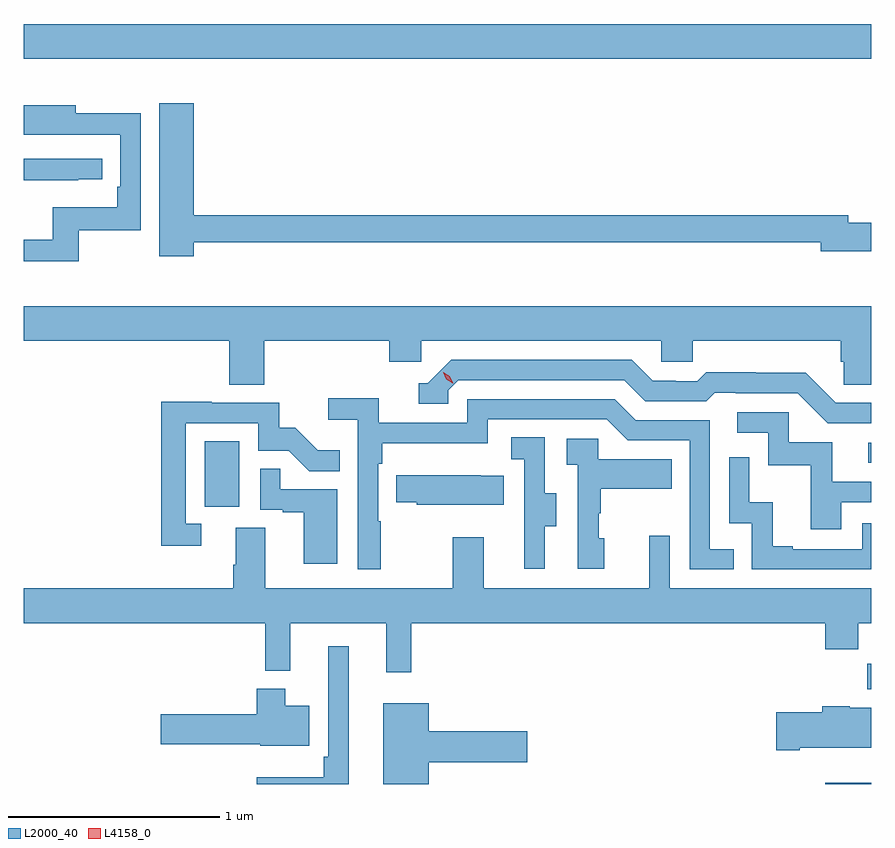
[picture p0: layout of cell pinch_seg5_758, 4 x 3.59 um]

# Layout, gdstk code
import gdstk
lib = gdstk.Library(unit=1e-6, precision=1e-09)
def R(c, l, rs):  # rectangles x0, y0, x1, y1
    for r in rs: c.add(gdstk.rectangle(r[:2], r[2:], *l))
def P(c, l, *ps):  # polygons
    for p in ps: c.add(gdstk.Polygon(p, *l))
L2000_40 = (2000, 40)
L4158_0 = (4158, 0)

pinch_seg5_758 = lib.new_cell('pinch_seg5_758')
R(pinch_seg5_758, L2000_40, [(833.585,906.616,833.801,906.622), (833.782,907.064,833.801,907.183), (830.654,907.926,830.818,908.233), (833.787,908.133,833.801,908.226), (829.801,910.04,833.801,910.204)])
P(pinch_seg5_758, L2000_40, [(830.602,909.174),(833.564,909.174),(833.564,909.131),(833.801,909.131),(833.801,909.266),(833.692,909.266),(833.692,909.302),(830.602,909.302),(830.602,909.829),(830.441,909.829),(830.441,909.108),(830.602,909.108)],
  [(830.059,909.231),(830.352,909.231),(830.352,909.782),(830.047,909.782),(830.047,909.82),(829.801,909.82),(829.801,909.68),(829.943,909.68),(829.943,909.681),(830.256,909.681),(830.256,909.436),(830.243,909.436),(830.243,909.34),(829.938,909.34),(829.938,909.185),(829.801,909.185),(829.801,909.084),(830.059,909.084)],
  [(830.057,909.471),(830.17,909.471),(830.17,909.567),(829.801,909.567),(829.801,909.466),(830.057,909.466)],
  [(830.936,908.708),(831.527,908.708),(831.527,908.61),(831.678,908.61),(831.678,908.708),(832.809,908.708),(832.809,908.61),(832.959,908.61),(832.959,908.708),(833.657,908.708),(833.657,908.61),(833.671,908.61),(833.671,908.5),(833.801,908.5),(833.801,908.872),(829.801,908.872),(829.801,908.708),(830.771,908.708),(830.771,908.5),(830.936,908.5)],
  [(833.801,908.415),(833.634,908.415),(833.492,908.557),(833.256,908.557),(833.256,908.56),(833.023,908.56),(832.981,908.517),(832.878,908.517),(832.878,908.52),(832.771,908.52),(832.672,908.619),(831.819,908.619),(831.708,908.508),(831.665,908.508),(831.665,908.412),(831.804,908.412),(831.804,908.475),(831.852,908.523),(832.635,908.523),(832.734,908.424),(833.023,908.424),(833.062,908.463),(833.161,908.463),(833.161,908.46),(833.454,908.46),(833.595,908.319),(833.801,908.319)],
  [(831.487,907.856),(831.474,907.856),(831.474,908.129),(831.494,908.129),(831.494,908.225),(831.99,908.225),(831.99,908.337),(832.554,908.337),(832.653,908.238),(832.944,908.238),(832.944,907.629),(833.153,907.629),(833.153,907.725),(833.04,907.725),(833.04,908.334),(832.69,908.334),(832.591,908.433),(831.894,908.433),(831.894,908.322),(831.476,908.322),(831.476,908.438),(831.237,908.438),(831.237,908.336),(831.378,908.336),(831.378,907.629),(831.487,907.629)],
  [(830.638,907.845),(830.565,907.845),(830.565,908.319),(830.907,908.319),(830.907,908.19),(831.051,908.19),(831.149,908.092),(831.293,908.092),(831.293,908.191),(831.189,908.191),(831.082,908.298),(831.006,908.298),(831.006,908.415),(830.687,908.415),(830.687,908.42),(830.449,908.42),(830.449,907.74),(830.638,907.74)],
  [(833.659,907.947),(833.801,907.947),(833.801,908.043),(833.617,908.043),(833.617,908.229),(833.412,908.229),(833.412,908.37),(833.169,908.37),(833.169,908.274),(833.316,908.274),(833.316,908.121),(833.515,908.121),(833.515,907.818),(833.659,907.818)],
  [(832.261,907.834),(832.315,907.834),(832.315,907.989),(832.26,907.989),(832.26,908.252),(832.101,908.252),(832.101,908.149),(832.164,908.149),(832.164,907.845),(832.163,907.845),(832.163,907.632),(832.261,907.632)],
  [(832.54,907.776),(832.515,907.776),(832.515,907.895),(832.525,907.895),(832.525,908.009),(832.859,908.009),(832.859,908.149),(832.512,908.149),(832.512,908.247),(832.365,908.247),(832.365,908.123),(832.416,908.123),(832.416,907.632),(832.54,907.632)],
  [(833.801,907.848),(833.76,907.848),(833.76,907.725),(833.431,907.725),(833.431,907.738),(833.336,907.738),(833.336,907.946),(833.226,907.946),(833.226,908.158),(833.13,908.158),(833.13,907.848),(833.238,907.848),(833.238,907.629),(833.801,907.629)],
  [(831.28,908.007),(831.011,908.007),(831.011,908.105),(830.916,908.105),(830.916,907.911),(831.023,907.911),(831.023,907.899),(831.122,907.899),(831.122,907.656),(831.28,907.656)],
  [(832.067,908.071),(831.959,908.071),(831.959,908.074),(831.559,908.074),(831.559,907.945),(831.657,907.945),(831.657,907.934),(832.067,907.934)],
  [(831.629,907.376),(833.585,907.376),(833.585,907.252),(833.741,907.252),(833.741,907.376),(833.801,907.376),(833.801,907.54),(832.851,907.54),(832.851,907.789),(832.754,907.789),(832.754,907.54),(831.973,907.54),(831.973,907.78),(831.826,907.78),(831.826,907.54),(830.941,907.54),(830.941,907.826),(830.801,907.826),(830.801,907.652),(830.789,907.652),(830.789,907.54),(829.801,907.54),(829.801,907.376),(830.941,907.376),(830.941,907.151),(831.059,907.151),(831.059,907.376),(831.512,907.376),(831.512,907.143),(831.629,907.143)],
  [(831.334,907.267),(831.237,907.267),(831.237,906.745),(831.217,906.745),(831.217,906.649),(830.9,906.649),(830.9,906.616),(831.334,906.616)],
  [(831.148,906.985),(831.034,906.985),(831.034,907.066),(830.9,907.066),(830.9,906.945),(830.448,906.945),(830.448,906.803),(830.916,906.803),(830.916,906.797),(831.148,906.797)],
  [(831.712,906.719),(832.177,906.719),(832.177,906.866),(831.712,906.866),(831.712,906.997),(831.497,906.997),(831.497,906.616),(831.712,906.616)],
  [(833.464,906.788),(833.801,906.788),(833.801,906.976),(833.7,906.976),(833.7,906.982),(833.57,906.982),(833.57,906.954),(833.352,906.954),(833.352,906.776),(833.464,906.776)])
P(pinch_seg5_758, L4158_0, [(831.826,908.507),(831.796,908.527),(831.78,908.56),(831.78,908.561),(831.78,908.561),(831.811,908.541),(831.827,908.508),(831.827,908.507)])

lib.write_gds('pinch_seg5_758.gds')
